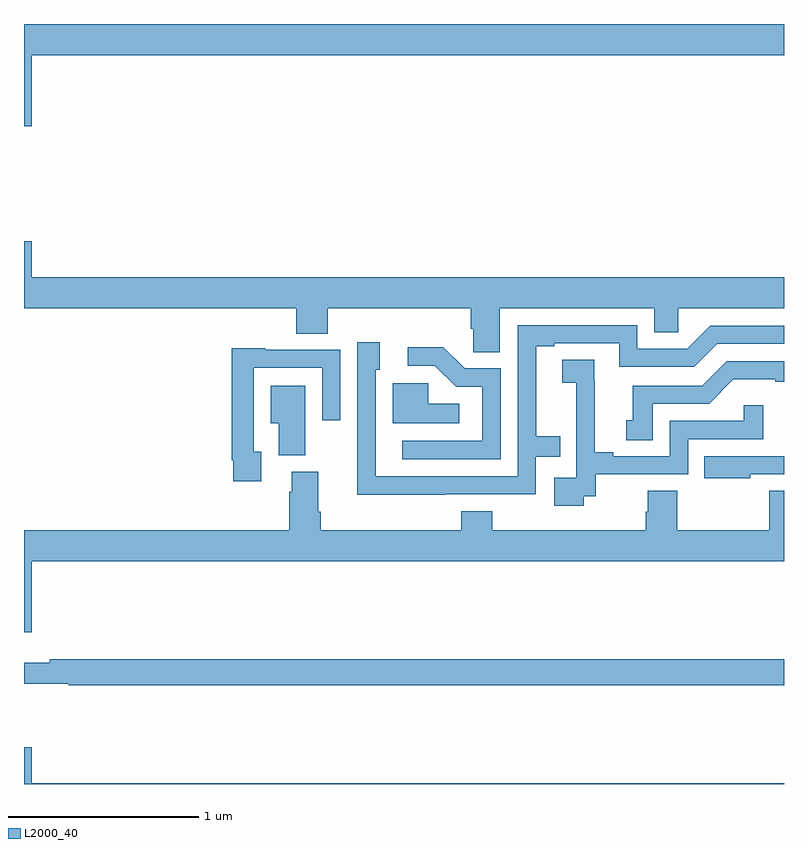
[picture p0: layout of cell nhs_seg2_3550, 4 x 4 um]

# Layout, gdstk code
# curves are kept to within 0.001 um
import gdstk
lib = gdstk.Library(unit=1e-6, precision=1e-09)
def P(c, l, *ps):  # polygons
    for p in ps: c.add(gdstk.Polygon(p, *l))
L2000_40 = (2000, 40)

nhs_seg2_3550 = lib.new_cell('nhs_seg2_3550')
P(nhs_seg2_3550, L2000_40, [(297.04,647.636),(301,647.636),(301,647.8),(297,647.8),(297,647.262),(297.04,647.262)],
  [(299.503,646.304),(300.317,646.304),(300.317,646.177),(300.444,646.177),(300.444,646.304),(301,646.304),(301,646.468),(297.04,646.468),(297.04,646.657),(297,646.657),(297,646.304),(298.433,646.304),(298.433,646.171),(298.598,646.171),(298.598,646.304),(299.351,646.304),(299.351,646.195),(299.364,646.195),(299.364,646.072),(299.503,646.072)],
  [(299.216,645.324),(299.694,645.324),(299.694,645.522),(299.822,645.522),(299.822,645.631),(299.695,645.631),(299.695,646.104),(299.791,646.104),(299.791,646.119),(300.132,646.119),(300.132,645.996),(300.528,645.996),(300.648,646.116),(301,646.116),(301,646.212),(300.612,646.212),(300.492,646.092),(300.228,646.092),(300.228,646.215),(299.598,646.215),(299.598,645.42),(298.851,645.42),(298.851,645.981),(298.873,645.981),(298.873,646.126),(298.755,646.126),(298.754,645.323)],
  [(299.508,645.987),(299.319,645.987),(299.206,646.1),(299.019,646.1),(299.019,646.002),(299.163,646.002),(299.274,645.891),(299.412,645.891),(299.412,645.606),(298.992,645.606),(298.992,645.51),(299.508,645.51)],
  [(298.249,645.549),(298.209,645.549),(298.209,645.99),(298.569,645.99),(298.569,645.714),(298.665,645.714),(298.665,646.086),(298.269,646.086),(298.269,646.093),(298.093,646.093),(298.093,645.505),(298.101,645.505),(298.101,645.393),(298.249,645.393)],
  [(299.946,645.315),(300.008,645.315),(300.008,645.429),(300.495,645.429),(300.495,645.615),(300.89,645.615),(300.89,645.793),(300.789,645.793),(300.789,645.711),(300.399,645.711),(300.399,645.525),(300.1,645.525),(300.1,645.545),(300.004,645.545),(300.004,645.923),(300.002,645.923),(300.002,646.034),(299.832,646.034),(299.832,645.913),(299.906,645.913),(299.906,645.715),(299.907,645.715),(299.907,645.411),(299.79,645.411),(299.79,645.264),(299.946,645.264)],
  [(300.31,645.801),(300.606,645.801),(300.734,645.929),(300.953,645.929),(300.953,645.918),(301,645.918),(301,646.026),(300.699,646.026),(300.57,645.897),(300.203,645.897),(300.203,645.714),(300.17,645.714),(300.17,645.61),(300.31,645.61)],
  [(299.29,645.802),(299.127,645.802),(299.127,645.909),(298.94,645.909),(298.94,645.698),(299.29,645.698)],
  [(298.48,645.895),(298.298,645.895),(298.298,645.698),(298.34,645.698),(298.34,645.529),(298.48,645.529)],
  [(300.823,645.429),(301,645.429),(301,645.525),(300.58,645.525),(300.58,645.41),(300.823,645.41)],
  [(297.04,644.972),(301,644.972),(301,645.344),(300.923,645.344),(300.923,645.136),(300.437,645.136),(300.437,645.344),(300.284,645.344),(300.284,645.234),(300.272,645.234),(300.272,645.136),(299.465,645.136),(299.465,645.235),(299.3,645.235),(299.3,645.136),(298.562,645.136),(298.562,645.232),(298.549,645.232),(298.549,645.444),(298.409,645.444),(298.409,645.338),(298.397,645.338),(298.397,645.136),(297,645.136),(297,644.598),(297.04,644.598)],
  [(301,644.456),(297.136,644.456),(297.136,644.437),(297,644.437),(297,644.328),(297.236,644.328),(297.236,644.32),(301,644.32)],
  [(301,643.804),(297.04,643.804),(297.04,643.993),(297,643.993),(297,643.8),(301,643.8)])

lib.write_gds('nhs_seg2_3550.gds')
